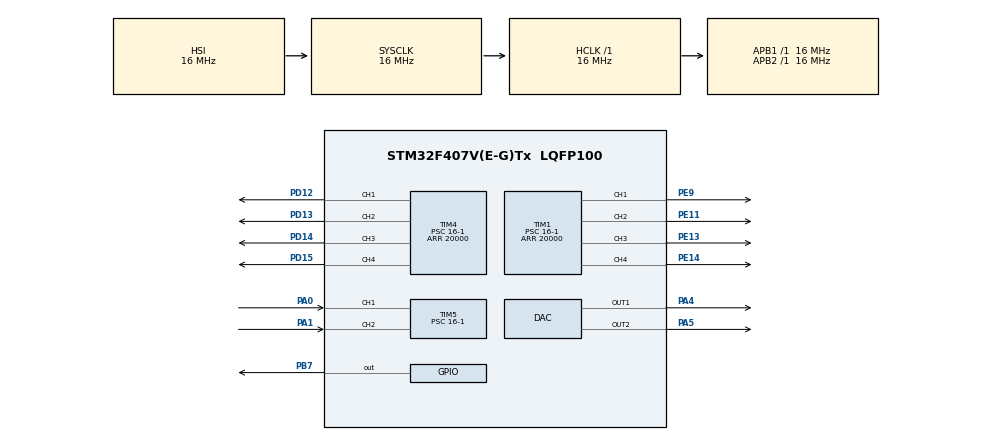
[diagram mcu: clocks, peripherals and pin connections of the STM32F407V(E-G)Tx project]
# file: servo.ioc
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Mcu.Family=STM32F4
Mcu.Name=STM32F407V(E-G)Tx
Mcu.Package=LQFP100
NVIC.PriorityGroup=NVIC_PRIORITYGROUP_0
NVIC.TIM5_IRQn=true\:0\:0\:false\:false\:true\:true\:true\:true
PA0-WKUP.Signal=S_TIM5_CH1
PA1.Signal=S_TIM5_CH2
PA13.Mode=Serial_Wire
PA13.Signal=SYS_JTMS-SWDIO
PA14.Mode=Serial_Wire
PA14.Signal=SYS_JTCK-SWCLK
PA4.Signal=COMP_DAC1_group
PA5.Signal=COMP_DAC2_group
PB7.Signal=GPIO_Output
PD12.Signal=S_TIM4_CH1
PD13.Signal=S_TIM4_CH2
PD14.Signal=S_TIM4_CH3
PD15.Signal=S_TIM4_CH4
PE11.Signal=S_TIM1_CH2
PE13.Signal=S_TIM1_CH3
PE14.Signal=S_TIM1_CH4
PE9.Signal=S_TIM1_CH1
PH0-OSC_IN.Mode=HSE-External-Oscillator
PH0-OSC_IN.Signal=RCC_OSC_IN
PH1-OSC_OUT.Mode=HSE-External-Oscillator
PH1-OSC_OUT.Signal=RCC_OSC_OUT
ProjectManager.HeapSize=0x200
ProjectManager.StackSize=0x400
ProjectManager.TargetToolchain=STM32CubeIDE
RCC.48MHZClocksFreq_Value=27428571.42857143
RCC.AHBFreq_Value=16000000
RCC.APB1Freq_Value=16000000
RCC.APB1TimFreq_Value=16000000
RCC.APB2Freq_Value=16000000
RCC.APB2TimFreq_Value=16000000
RCC.CortexFreq_Value=16000000
RCC.HCLKFreq_Value=16000000
RCC.HSE_VALUE=25000000
RCC.HSI_VALUE=16000000
RCC.LSE_VALUE=32768
RCC.PLLQ=7
RCC.SYSCLKFreq_VALUE=16000000
RCC.VCOOutputFreq_Value=192000000
SH.COMP_DAC1_group.0=DAC_OUT1,DAC_OUT1
SH.COMP_DAC2_group.0=DAC_OUT2,DAC_OUT2
SH.S_TIM1_CH1.0=TIM1_CH1,PWM Generation1 CH1
SH.S_TIM1_CH2.0=TIM1_CH2,PWM Generation2 CH2
SH.S_TIM1_CH3.0=TIM1_CH3,PWM Generation3 CH3
SH.S_TIM1_CH4.0=TIM1_CH4,PWM Generation4 CH4
SH.S_TIM4_CH1.0=TIM4_CH1,PWM Generation1 CH1
SH.S_TIM4_CH2.0=TIM4_CH2,PWM Generation2 CH2
SH.S_TIM4_CH3.0=TIM4_CH3,PWM Generation3 CH3
SH.S_TIM4_CH4.0=TIM4_CH4,PWM Generation4 CH4
SH.S_TIM5_CH1.0=TIM5_CH1,Input_Capture1_from_TI1
SH.S_TIM5_CH2.0=TIM5_CH2,Input_Capture2_from_TI2
TIM1.Channel-PWM\ Generation1\ CH1=TIM_CHANNEL_1
TIM1.Channel-PWM\ Generation2\ CH2=TIM_CHANNEL_2
TIM1.Channel-PWM\ Generation3\ CH3=TIM_CHANNEL_3
TIM1.Channel-PWM\ Generation4\ CH4=TIM_CHANNEL_4
TIM1.Period=20000
TIM1.Prescaler=16-1
TIM4.Channel-PWM\ Generation1\ CH1=TIM_CHANNEL_1
TIM4.Channel-PWM\ Generation2\ CH2=TIM_CHANNEL_2
TIM4.Channel-PWM\ Generation3\ CH3=TIM_CHANNEL_3
TIM4.Channel-PWM\ Generation4\ CH4=TIM_CHANNEL_4
TIM4.Period=20000
TIM4.Prescaler=16-1
TIM5.Channel-Input_Capture1_from_TI1=TIM_CHANNEL_1
TIM5.Channel-Input_Capture2_from_TI2=TIM_CHANNEL_2
TIM5.Period=0xFFFF
TIM5.Prescaler=16-1
board=STM32F407G-DISC1

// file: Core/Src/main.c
/* USER CODE BEGIN Header */
/**
  ******************************************************************************
  * @file           : main.c
  * @brief          : Main program body
  ******************************************************************************
  * @attention
  *
  * Copyright (c) 2023 STMicroelectronics.
  * All rights reserved.
  *
  * This software is licensed under terms that can be found in the LICENSE file
  * in the root directory of this software component.
  * If no LICENSE file comes with this software, it is provided AS-IS.
  *
  ******************************************************************************
  */
/* USER CODE END Header */
#include "main.h"

DAC_HandleTypeDef hdac;

TIM_HandleTypeDef htim1;
TIM_HandleTypeDef htim4;
TIM_HandleTypeDef htim5;

/* USER CODE BEGIN PV */
int i;
int counter = 0;
int control = 0;
uint16_t prevTime,currentTime,elapsedTime;
uint16_t tempCh[9] ;
uint16_t ch[9] ;
void HAL_TIM_IC_CaptureCallback(TIM_HandleTypeDef *htim)
{
	if (htim->Instance == TIM5 && htim->Channel == HAL_TIM_ACTIVE_CHANNEL_1 && (TIM5->CCER & TIM_CCER_CC1P) == 0) //kesme yükselen kenardan mı geliyor
	{
		if (control)
		{
			counter++;

			if (counter == 1)
				tempCh[0] = TIM5->CCR1;
			else
			{
				tempCh[counter - 1] = TIM5->CCR1;
				ch[counter - 2] = tempCh[counter - 1] - tempCh[counter - 2];
				if (ch[counter - 2] < 0) ch[counter - 2] += 0xFFFF;
				if (counter == 9)
				{
					counter = 0;
					control = 0;
				}
			}
			prevTime = HAL_GetTick();
		}
		else
		{
			currentTime = HAL_GetTick();
			elapsedTime = (currentTime - prevTime) * 1000;
			prevTime = currentTime;
			if (elapsedTime > 6000)
			{
				tempCh[0] = TIM5->CCR1;
				control = 1;
				counter = 1;
			}
		}
	}
}
/* USER CODE END PV */

void SystemClock_Config(void);
static void MX_GPIO_Init(void);
static void MX_TIM1_Init(void);
static void MX_TIM4_Init(void);
static void MX_TIM5_Init(void);
static void MX_DAC_Init(void);

int main(void)
{

  /* MCU Configuration--------------------------------------------------------*/

  /* Reset of all peripherals, Initializes the Flash interface and the Systick. */
  HAL_Init();

  /* Configure the system clock */
  SystemClock_Config();

  /* Initialize all configured peripherals */
  MX_GPIO_Init();
  MX_TIM1_Init();
  MX_TIM4_Init();
  MX_TIM5_Init();
  MX_DAC_Init();
  /* USER CODE BEGIN 2 */
  HAL_TIM_PWM_Start(&htim1, TIM_CHANNEL_1);
  HAL_TIM_PWM_Start(&htim1, TIM_CHANNEL_2);
  HAL_TIM_PWM_Start(&htim1, TIM_CHANNEL_3);
  HAL_TIM_PWM_Start(&htim1, TIM_CHANNEL_4);
  HAL_TIM_PWM_Start(&htim4, TIM_CHANNEL_1);
  HAL_TIM_PWM_Start(&htim4, TIM_CHANNEL_2);
  HAL_TIM_PWM_Start(&htim4, TIM_CHANNEL_3);
  HAL_TIM_PWM_Start(&htim4, TIM_CHANNEL_4);
  HAL_DAC_Start(&hdac, DAC1_CHANNEL_1);
  HAL_DAC_Start(&hdac, DAC1_CHANNEL_2);
  HAL_TIM_IC_Start_IT(&htim5, TIM_CHANNEL_1);
  /* USER CODE END 2 */

  /* Infinite loop */
  while (1)
  {

    /* USER CODE BEGIN 3 */
	  HAL_DAC_SetValue(&hdac, DAC1_CHANNEL_1, DAC_ALIGN_12B_R, ((ch[2]-1000)*4));
	  HAL_DAC_SetValue(&hdac, DAC1_CHANNEL_2, DAC_ALIGN_12B_R, ((ch[3]-1000)*4));
  }
  /* USER CODE END 3 */
}

void SystemClock_Config(void)
{
  RCC_OscInitTypeDef RCC_OscInitStruct = {0};
  RCC_ClkInitTypeDef RCC_ClkInitStruct = {0};

  /** Configure the main internal regulator output voltage
  */
  __HAL_RCC_PWR_CLK_ENABLE();
  __HAL_PWR_VOLTAGESCALING_CONFIG(PWR_REGULATOR_VOLTAGE_SCALE1);

  /** Initializes the RCC Oscillators according to the specified parameters
  * in the RCC_OscInitTypeDef structure.
  */
  RCC_OscInitStruct.OscillatorType = RCC_OSCILLATORTYPE_HSI;
  RCC_OscInitStruct.HSIState = RCC_HSI_ON;
  RCC_OscInitStruct.HSICalibrationValue = RCC_HSICALIBRATION_DEFAULT;
  RCC_OscInitStruct.PLL.PLLState = RCC_PLL_NONE;
  if (HAL_RCC_OscConfig(&RCC_OscInitStruct) != HAL_OK)
  {
    Error_Handler();
  }

  /** Initializes the CPU, AHB and APB buses clocks
  */
  RCC_ClkInitStruct.ClockType = RCC_CLOCKTYPE_HCLK|RCC_CLOCKTYPE_SYSCLK
                              |RCC_CLOCKTYPE_PCLK1|RCC_CLOCKTYPE_PCLK2;
  RCC_ClkInitStruct.SYSCLKSource = RCC_SYSCLKSOURCE_HSI;
  RCC_ClkInitStruct.AHBCLKDivider = RCC_SYSCLK_DIV1;
  RCC_ClkInitStruct.APB1CLKDivider = RCC_HCLK_DIV1;
  RCC_ClkInitStruct.APB2CLKDivider = RCC_HCLK_DIV1;

  if (HAL_RCC_ClockConfig(&RCC_ClkInitStruct, FLASH_LATENCY_0) != HAL_OK)
  {
    Error_Handler();
  }
}

static void MX_DAC_Init(void)
{

  DAC_ChannelConfTypeDef sConfig = {0};

  /** DAC Initialization
  */
  hdac.Instance = DAC;
  if (HAL_DAC_Init(&hdac) != HAL_OK)
  {
    Error_Handler();
  }

  /** DAC channel OUT1 config
  */
  sConfig.DAC_Trigger = DAC_TRIGGER_NONE;
  sConfig.DAC_OutputBuffer = DAC_OUTPUTBUFFER_ENABLE;
  if (HAL_DAC_ConfigChannel(&hdac, &sConfig, DAC_CHANNEL_1) != HAL_OK)
  {
    Error_Handler();
  }

  /** DAC channel OUT2 config
  */
  if (HAL_DAC_ConfigChannel(&hdac, &sConfig, DAC_CHANNEL_2) != HAL_OK)
  {
    Error_Handler();
  }

}

static void MX_TIM1_Init(void)
{

  TIM_MasterConfigTypeDef sMasterConfig = {0};
  TIM_OC_InitTypeDef sConfigOC = {0};
  TIM_BreakDeadTimeConfigTypeDef sBreakDeadTimeConfig = {0};

  htim1.Instance = TIM1;
  htim1.Init.Prescaler = 16-1;
  htim1.Init.CounterMode = TIM_COUNTERMODE_UP;
  htim1.Init.Period = 20000;
  htim1.Init.ClockDivision = TIM_CLOCKDIVISION_DIV1;
  htim1.Init.RepetitionCounter = 0;
  htim1.Init.AutoReloadPreload = TIM_AUTORELOAD_PRELOAD_DISABLE;
  if (HAL_TIM_PWM_Init(&htim1) != HAL_OK)
  {
    Error_Handler();
  }
  sMasterConfig.MasterOutputTrigger = TIM_TRGO_RESET;
  sMasterConfig.MasterSlaveMode = TIM_MASTERSLAVEMODE_DISABLE;
  if (HAL_TIMEx_MasterConfigSynchronization(&htim1, &sMasterConfig) != HAL_OK)
  {
    Error_Handler();
  }
  sConfigOC.OCMode = TIM_OCMODE_PWM1;
  sConfigOC.Pulse = 0;
  sConfigOC.OCPolarity = TIM_OCPOLARITY_HIGH;
  sConfigOC.OCNPolarity = TIM_OCNPOLARITY_HIGH;
  sConfigOC.OCFastMode = TIM_OCFAST_DISABLE;
  sConfigOC.OCIdleState = TIM_OCIDLESTATE_RESET;
  sConfigOC.OCNIdleState = TIM_OCNIDLESTATE_RESET;
  if (HAL_TIM_PWM_ConfigChannel(&htim1, &sConfigOC, TIM_CHANNEL_1) != HAL_OK)
  {
    Error_Handler();
  }
  if (HAL_TIM_PWM_ConfigChannel(&htim1, &sConfigOC, TIM_CHANNEL_2) != HAL_OK)
  {
    Error_Handler();
  }
  if (HAL_TIM_PWM_ConfigChannel(&htim1, &sConfigOC, TIM_CHANNEL_3) != HAL_OK)
  {
    Error_Handler();
  }
  if (HAL_TIM_PWM_ConfigChannel(&htim1, &sConfigOC, TIM_CHANNEL_4) != HAL_OK)
  {
    Error_Handler();
  }
  sBreakDeadTimeConfig.OffStateRunMode = TIM_OSSR_DISABLE;
  sBreakDeadTimeConfig.OffStateIDLEMode = TIM_OSSI_DISABLE;
  sBreakDeadTimeConfig.LockLevel = TIM_LOCKLEVEL_OFF;
  sBreakDeadTimeConfig.DeadTime = 0;
  sBreakDeadTimeConfig.BreakState = TIM_BREAK_DISABLE;
  sBreakDeadTimeConfig.BreakPolarity = TIM_BREAKPOLARITY_HIGH;
  sBreakDeadTimeConfig.AutomaticOutput = TIM_AUTOMATICOUTPUT_DISABLE;
  if (HAL_TIMEx_ConfigBreakDeadTime(&htim1, &sBreakDeadTimeConfig) != HAL_OK)
  {
    Error_Handler();
  }
  HAL_TIM_MspPostInit(&htim1);

}

static void MX_TIM4_Init(void)
{

  TIM_MasterConfigTypeDef sMasterConfig = {0};
  TIM_OC_InitTypeDef sConfigOC = {0};

  htim4.Instance = TIM4;
  htim4.Init.Prescaler = 16-1;
  htim4.Init.CounterMode = TIM_COUNTERMODE_UP;
  htim4.Init.Period = 20000;
  htim4.Init.ClockDivision = TIM_CLOCKDIVISION_DIV1;
  htim4.Init.AutoReloadPreload = TIM_AUTORELOAD_PRELOAD_DISABLE;
  if (HAL_TIM_PWM_Init(&htim4) != HAL_OK)
  {
    Error_Handler();
  }
  sMasterConfig.MasterOutputTrigger = TIM_TRGO_RESET;
  sMasterConfig.MasterSlaveMode = TIM_MASTERSLAVEMODE_DISABLE;
  if (HAL_TIMEx_MasterConfigSynchronization(&htim4, &sMasterConfig) != HAL_OK)
  {
    Error_Handler();
  }
  sConfigOC.OCMode = TIM_OCMODE_PWM1;
  sConfigOC.Pulse = 0;
  sConfigOC.OCPolarity = TIM_OCPOLARITY_HIGH;
  sConfigOC.OCFastMode = TIM_OCFAST_DISABLE;
  if (HAL_TIM_PWM_ConfigChannel(&htim4, &sConfigOC, TIM_CHANNEL_1) != HAL_OK)
  {
    Error_Handler();
  }
  if (HAL_TIM_PWM_ConfigChannel(&htim4, &sConfigOC, TIM_CHANNEL_2) != HAL_OK)
  {
    Error_Handler();
  }
  if (HAL_TIM_PWM_ConfigChannel(&htim4, &sConfigOC, TIM_CHANNEL_3) != HAL_OK)
  {
    Error_Handler();
  }
  if (HAL_TIM_PWM_ConfigChannel(&htim4, &sConfigOC, TIM_CHANNEL_4) != HAL_OK)
  {
    Error_Handler();
  }
  HAL_TIM_MspPostInit(&htim4);

}

static void MX_TIM5_Init(void)
{

  TIM_MasterConfigTypeDef sMasterConfig = {0};
  TIM_IC_InitTypeDef sConfigIC = {0};

  htim5.Instance = TIM5;
  htim5.Init.Prescaler = 16-1;
  htim5.Init.CounterMode = TIM_COUNTERMODE_UP;
  htim5.Init.Period = 0xFFFF;
  htim5.Init.ClockDivision = TIM_CLOCKDIVISION_DIV1;
  htim5.Init.AutoReloadPreload = TIM_AUTORELOAD_PRELOAD_DISABLE;
  if (HAL_TIM_IC_Init(&htim5) != HAL_OK)
  {
    Error_Handler();
  }
  sMasterConfig.MasterOutputTrigger = TIM_TRGO_RESET;
  sMasterConfig.MasterSlaveMode = TIM_MASTERSLAVEMODE_DISABLE;
  if (HAL_TIMEx_MasterConfigSynchronization(&htim5, &sMasterConfig) != HAL_OK)
  {
    Error_Handler();
  }
  sConfigIC.ICPolarity = TIM_INPUTCHANNELPOLARITY_RISING;
  sConfigIC.ICSelection = TIM_ICSELECTION_DIRECTTI;
  sConfigIC.ICPrescaler = TIM_ICPSC_DIV1;
  sConfigIC.ICFilter = 0;
  if (HAL_TIM_IC_ConfigChannel(&htim5, &sConfigIC, TIM_CHANNEL_1) != HAL_OK)
  {
    Error_Handler();
  }
  if (HAL_TIM_IC_ConfigChannel(&htim5, &sConfigIC, TIM_CHANNEL_2) != HAL_OK)
  {
    Error_Handler();
  }

}

static void MX_GPIO_Init(void)
{
  GPIO_InitTypeDef GPIO_InitStruct = {0};

  /* GPIO Ports Clock Enable */
  __HAL_RCC_GPIOH_CLK_ENABLE();
  __HAL_RCC_GPIOA_CLK_ENABLE();
  __HAL_RCC_GPIOE_CLK_ENABLE();
  __HAL_RCC_GPIOD_CLK_ENABLE();
  __HAL_RCC_GPIOB_CLK_ENABLE();

  /*Configure GPIO pin Output Level */
  HAL_GPIO_WritePin(GPIOB, GPIO_PIN_7, GPIO_PIN_RESET);

  /*Configure GPIO pin : PB7 */
  GPIO_InitStruct.Pin = GPIO_PIN_7;
  GPIO_InitStruct.Mode = GPIO_MODE_OUTPUT_PP;
  GPIO_InitStruct.Pull = GPIO_NOPULL;
  GPIO_InitStruct.Speed = GPIO_SPEED_FREQ_LOW;
  HAL_GPIO_Init(GPIOB, &GPIO_InitStruct);

}

void Error_Handler(void)
{
  __disable_irq();
  while (1)
  {
  }
}
